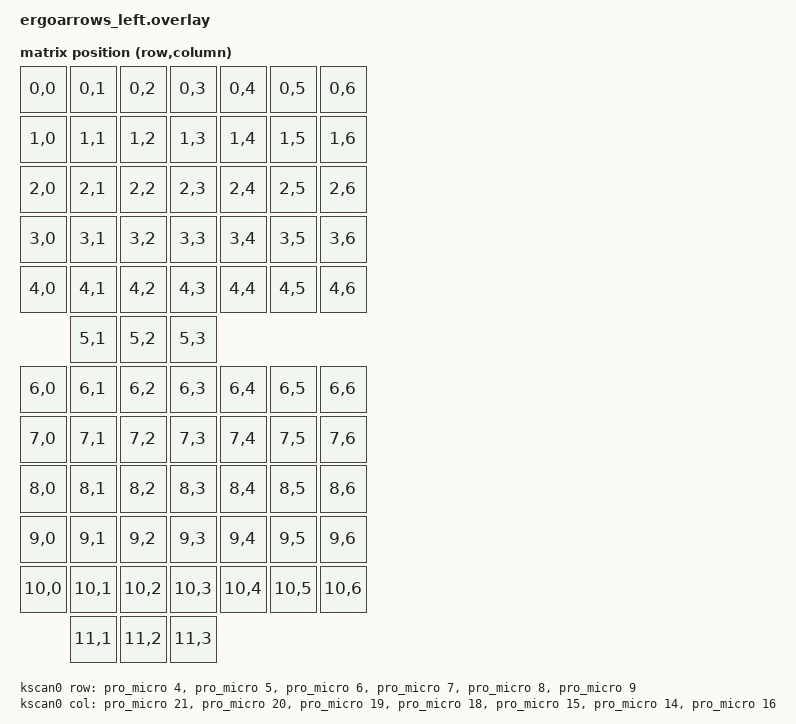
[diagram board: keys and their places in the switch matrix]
/*
 * ErgoArrows Left Half
 */

#include <dt-bindings/zmk/matrix_transform.h>
#include <dt-bindings/gpio/gpio.h>
#include <dt-bindings/led/led.h>

/ {
    chosen {
        zmk,kscan = &kscan0;
        zmk,matrix_transform = &default_transform;
        zmk,underglow = &led_strip;
    };

    default_transform: keymap_transform_0 {
        compatible = "zmk,matrix-transform";
        columns = <7>;
        rows = <12>;

        map = <
            RC(0,0)  RC(0,1)  RC(0,2)  RC(0,3)  RC(0,4)  RC(0,5)  RC(0,6)
            RC(1,0)  RC(1,1)  RC(1,2)  RC(1,3)  RC(1,4)  RC(1,5)  RC(1,6)
            RC(2,0)  RC(2,1)  RC(2,2)  RC(2,3)  RC(2,4)  RC(2,5)  RC(2,6)
            RC(3,0)  RC(3,1)  RC(3,2)  RC(3,3)  RC(3,4)  RC(3,5)  RC(3,6)
            RC(4,0)  RC(4,1)  RC(4,2)  RC(4,3)  RC(4,4)  RC(4,5)  RC(4,6)
                     RC(5,1)  RC(5,2)  RC(5,3)
            RC(6,0)  RC(6,1)  RC(6,2)  RC(6,3)  RC(6,4)  RC(6,5)  RC(6,6)
            RC(7,0)  RC(7,1)  RC(7,2)  RC(7,3)  RC(7,4)  RC(7,5)  RC(7,6)
            RC(8,0)  RC(8,1)  RC(8,2)  RC(8,3)  RC(8,4)  RC(8,5)  RC(8,6)
            RC(9,0)  RC(9,1)  RC(9,2)  RC(9,3)  RC(9,4)  RC(9,5)  RC(9,6)
            RC(10,0) RC(10,1) RC(10,2) RC(10,3) RC(10,4) RC(10,5) RC(10,6)
                     RC(11,1) RC(11,2) RC(11,3)
        >;
    };

    kscan0: kscan {
        compatible = "zmk,kscan-gpio-matrix";
        label = "KSCAN";

        diode-direction = "col2row";

        col-gpios
            = <&pro_micro 21 GPIO_ACTIVE_HIGH>
            , <&pro_micro 20 GPIO_ACTIVE_HIGH>
            , <&pro_micro 19 GPIO_ACTIVE_HIGH>
            , <&pro_micro 18 GPIO_ACTIVE_HIGH>
            , <&pro_micro 15 GPIO_ACTIVE_HIGH>
            , <&pro_micro 14 GPIO_ACTIVE_HIGH>
            , <&pro_micro 16 GPIO_ACTIVE_HIGH>
            ;

        row-gpios
            = <&pro_micro 4  (GPIO_ACTIVE_HIGH | GPIO_PULL_DOWN)>
            , <&pro_micro 5  (GPIO_ACTIVE_HIGH | GPIO_PULL_DOWN)>
            , <&pro_micro 6  (GPIO_ACTIVE_HIGH | GPIO_PULL_DOWN)>
            , <&pro_micro 7  (GPIO_ACTIVE_HIGH | GPIO_PULL_DOWN)>
            , <&pro_micro 8  (GPIO_ACTIVE_HIGH | GPIO_PULL_DOWN)>
            , <&pro_micro 9  (GPIO_ACTIVE_HIGH | GPIO_PULL_DOWN)>
            ;
    };
};

&pinctrl {
    spi1_default: spi1_default {
        group1 {
            psels = <NRF_PSEL(SPIM_MOSI, 0, 17)>;
        };
    };
    spi1_sleep: spi1_sleep {
        group1 {
            psels = <NRF_PSEL(SPIM_MOSI, 0, 17)>;
            low-power-enable;
        };
    };
};

&spi1 {
    compatible = "nordic,nrf-spim";
    status = "okay";
    pinctrl-0 = <&spi1_default>;
    pinctrl-1 = <&spi1_sleep>;
    pinctrl-names = "default", "sleep";

    led_strip: ws2812@0 {
        compatible = "worldsemi,ws2812-spi";
        label = "WS2812";
        reg = <0>;
        spi-max-frequency = <4000000>;
        chain-length = <43>;
        spi-one-frame = <0x70>;
        spi-zero-frame = <0x40>;
        color-mapping = <LED_COLOR_ID_GREEN
                         LED_COLOR_ID_RED
                         LED_COLOR_ID_BLUE>;
    };
};
